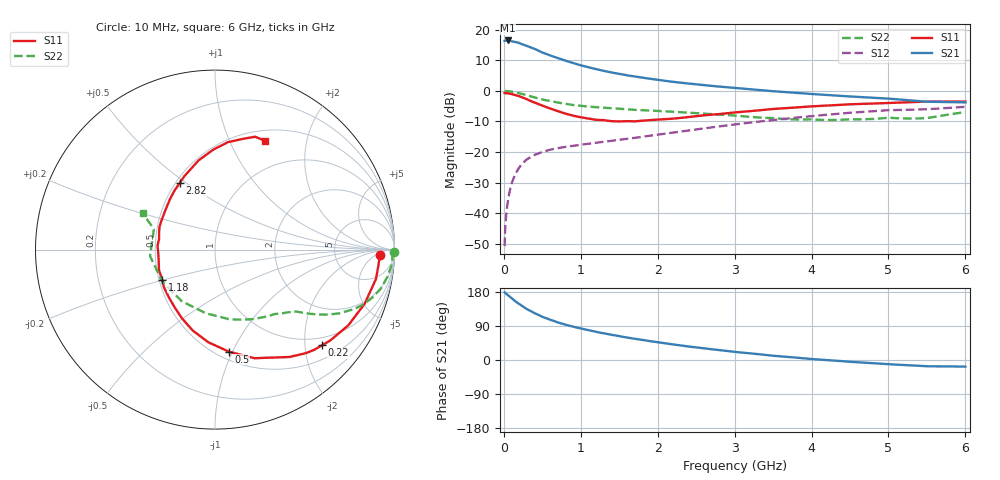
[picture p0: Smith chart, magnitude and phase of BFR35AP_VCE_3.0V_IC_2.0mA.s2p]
! Infineon Technologies  Discrete & RF Semiconductors
! BFR35AP
! VCE =  3.0 V,  IC =  2.0 mA
! Common Emitter S-Parameters:  Nov 2015
# GHz  S  MA  R  50
!  f  S11  S21  S12  S22
! GHz  MAG  ANG  MAG  ANG  MAG  ANG  MAG  ANG
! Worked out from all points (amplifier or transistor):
!   210 points, 10 MHz to 6 GHz, reference 50 ohm
!   highest |S21| = 16.5 dB at 50 MHz (marker M1)
!   |S21| within 3 dB of that: start of sweep to 421.2 MHz
!   unconditionally stable (mu >= 1): 1.156 GHz to 3.909 GHz; 5.236 GHz to 5.959 GHz
!   at 185 MHz: K = 0.22, MSG = 20.7 dB, |S12| = -25.6 dB
!   at 1.52 GHz: K = 1.13, MAG = 8.5 dB, |S12| = -16.0 dB
!   at 6 GHz: K = 1.00, MSG = 0.7 dB, |S12| = -5.2 dB
!   S11 on the Smith chart (normalised r, x): 10 MHz: 21, -8; 220 MHz: 0.81, -2.38; 500 MHz: 0.57, -0.97; 1.18 GHz: 0.52, -0.20; 2.82 GHz: 0.52, +0.47; 6 GHz: 0.63, +1.37
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0.01  0.9192 -1.9  6.532 178.6  0.0029 87.4  0.9972 -0.9
0.02  0.9162 -4.4  6.607 176.5  0.0063 87.6  0.9891 -1.8
0.05  0.9118 -10.3  6.652 171.6  0.015 83.0  0.9899 -4.6
0.095  0.8882 -18.9  6.46 164.5  0.0286 78.3  0.9736 -8.6
0.15  0.8543 -29.6  6.304 154.7  0.0438 72.6  0.948 -13.4
0.22  0.7997 -41.8  5.895 144.9  0.0601 66.2  0.9021 -18.3
0.3  0.7285 -55.2  5.418 134.2  0.0761 60.3  0.8483 -22.8
0.32  0.7081 -57.9  5.291 132.2  0.0788 58.9  0.8342 -23.6
0.4  0.6441 -70.0  4.85 123.5  0.0899 54.3  0.7795 -27.1
0.5  0.5737 -82.3  4.232 114.0  0.1003 50.3  0.7207 -30.2
0.6  0.5179 -94.1  3.793 106.4  0.1091 47.4  0.6805 -32.1
0.7  0.4675 -105.4  3.443 99.3  0.1159 45.5  0.6442 -33.8
0.9  0.3937 -124.6  2.846 87.7  0.1266 43.8  0.587 -36.4
1.02  0.3659 -135.8  2.574 82.2  0.1325 43.6  0.5651 -37.7
1.18  0.339 -150.5  2.295 75.1  0.1405 43.4  0.543 -39.9
1.6  0.3212 175.9  1.794 59.2  0.1637 44.8  0.5007 -45.6
2.02  0.3395 151.4  1.495 46.4  0.1936 46.2  0.4684 -52.9
2.82  0.42 117.9  1.167 25.7  0.2643 44.6  0.4079 -72.9
3.1  0.454 109.9  1.09 19.6  0.2925 42.5  0.3841 -82.4
4.1  0.5657 89.3  0.872 1.2  0.3964 32.4  0.3365 -128.1
5.1  0.6392 75.3  0.729 -12.2  0.4854 17.9  0.3577 -179.0
6  0.667 65.2  0.648 -17.4  0.5477 6.8  0.4504 153.3
